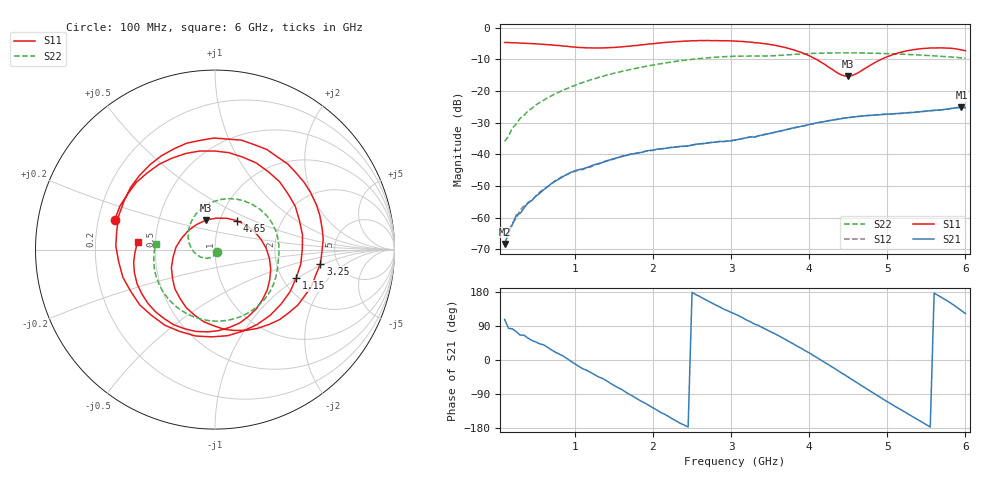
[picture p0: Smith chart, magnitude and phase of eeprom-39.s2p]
! Created with skrf 2.0.0 (http://scikit-rf.org).
# Hz S RI R 50.0
!freq ReS11 ImS11 ReS21 ImS21 ReS12 ImS12 ReS22 ImS22
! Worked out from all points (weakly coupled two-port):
!   119 points, 100 MHz to 6 GHz, reference 50 ohm
!   highest |S21| = -25.16 dB at 5.95 GHz (marker M1); lowest = -68.3 dB at 100 MHz (marker M2)
!   lowest |S11| = -15.3 dB at 4.5 GHz (marker M3), VSWR 1.42, Z = 43.1 + j14.7 ohm
!   |S11| at or under -10 dB: 4.092 GHz to 4.922 GHz (829.6 MHz wide, 18.4 % of centre)
!   |S22| runs from -35.9 to -8.0 dB; largest |S21 - S12| = 0.00026
!   S11 on the Smith chart (normalised r, x): 100 MHz: 0.27, +0.13; 1.15 GHz: 2.37, -0.97; 3.25 GHz: 3.67, -0.90; 4.65 GHz: 1.20, +0.40; 6 GHz: 0.40, +0.04
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1e8  -0.5587 0.1649  -0.000114 0.000369  -3.88e-05 0.000354  0.00838 -0.0137
1.5e8  -0.5296 0.2428  6.49e-05 0.000566  7.34e-05 0.000615  0.00493 -0.0186
3e8  -0.3785 0.4266  0.000481 0.00107  0.00054 0.00121  -0.00876 -0.0363
6e8  0.0774 0.5401  0.00212 0.00178  0.00225 0.0017  -0.0539 -0.0472
9e8  0.4478 0.2405  0.00484 0.000322  0.0048 0.000299  -0.1064 -0.0234
1.1e9  0.4779 -0.0801  0.00542 -0.00231  0.00536 -0.00213  -0.1353 0.0136
1.15e9  0.4527 -0.1574  0.00551 -0.00281  0.00542 -0.00285  -0.1401 0.0271
1.55e9  -0.1083 -0.4812  0.00264 -0.00848  0.00267 -0.00839  -0.1382 0.1393
1.85e9  -0.513 -0.1552  -0.00344 -0.0102  -0.00345 -0.0102  -0.0822 0.2233
2.1e9  -0.5067 0.2707  -0.00919 -0.00806  -0.009 -0.00818  -0.000739 0.269
2.5e9  -0.00531 0.6216  -0.014 0.000374  -0.0139 0.000303  0.162 0.2719
3.05e9  0.5836 0.1918  -0.00871 0.0143  -0.00876 0.0144  0.3376 0.1083
3.25e9  0.5871 -0.0796  -0.00344 0.0185  -0.0034 0.0186  0.3563 0.0236
3.65e9  0.2386 -0.4385  0.0121 0.0204  0.0121 0.0203  0.3433 -0.1288
4.05e9  -0.1945 -0.2724  0.0297 0.00652  0.0298 0.00647  0.2662 -0.2885
4.25e9  -0.2338 -0.0432  0.0331 -0.00746  0.0331 -0.00756  0.1894 -0.3506
4.5e9  -0.0481 0.1653  0.0268 -0.027  0.0267 -0.0269  0.0742 -0.3932
4.65e9  0.1206 0.1619  0.017 -0.0362  0.017 -0.0361  -0.00148 -0.398
5.05e9  0.2915 -0.2243  -0.0192 -0.039  -0.0191 -0.039  -0.186 -0.3397
5.45e9  -0.1064 -0.456  -0.0458 -0.0126  -0.0457 -0.0126  -0.309 -0.2
5.95e9  -0.4447 -0.00879  -0.0356 0.0422  -0.0355 0.0421  -0.3333 0.0102
6e9  -0.4307 0.0424  -0.0295 0.0463  -0.0295 0.0462  -0.3283 0.031
